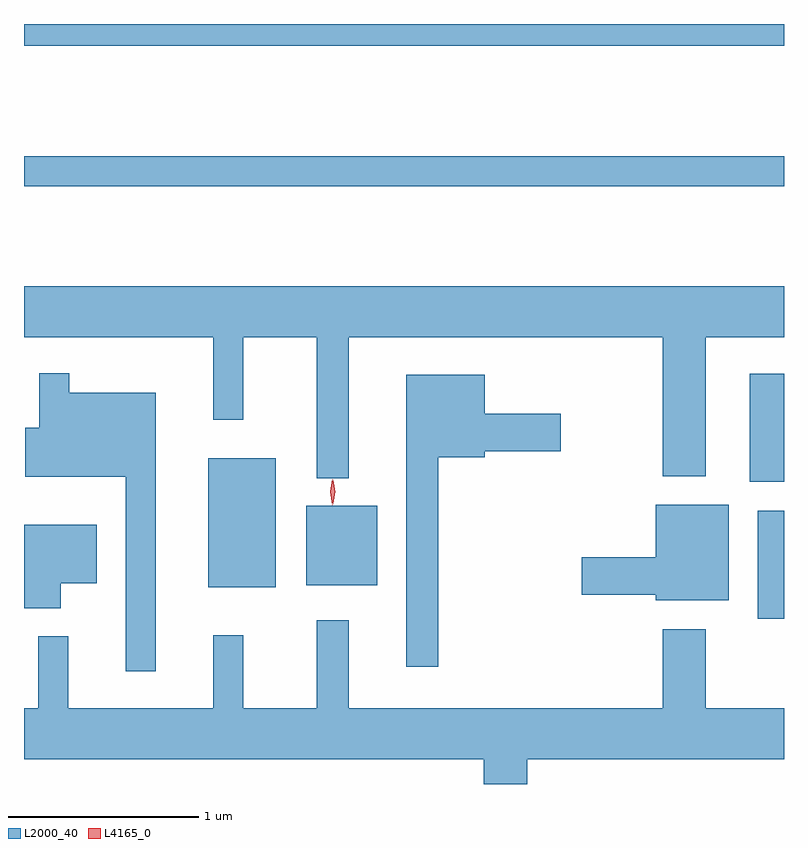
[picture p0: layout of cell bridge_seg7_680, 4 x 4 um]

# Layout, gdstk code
import gdstk
lib = gdstk.Library(unit=1e-6, precision=1e-09)
def R(c, l, rs):  # rectangles x0, y0, x1, y1
    for r in rs: c.add(gdstk.rectangle(r[:2], r[2:], *l))
def P(c, l, *ps):  # polygons
    for p in ps: c.add(gdstk.Polygon(p, *l))
L2000_40 = (2000, 40)
L4165_0 = (4165, 0)

bridge_seg7_680 = lib.new_cell('bridge_seg7_680')
R(bridge_seg7_680, L2000_40, [(979.501,1721.716,979.64,1722.284), (976.611,1721.881,976.964,1722.559), (977.126,1721.891,977.499,1722.309), (979.461,1722.436,979.64,1723.004), (975.64,1723.991,979.64,1724.149), (975.64,1724.731,979.64,1724.845)])
P(bridge_seg7_680, L2000_40, [(975.64,1723.196),(976.636,1723.196),(976.636,1722.763),(976.794,1722.763),(976.794,1723.196),(977.181,1723.196),(977.181,1722.453),(977.349,1722.453),(977.349,1723.196),(979.001,1723.196),(979.001,1722.466),(979.229,1722.466),(979.229,1723.196),(979.64,1723.196),(979.64,1723.464),(975.64,1723.464)],
  [(976.334,1722.904),(975.879,1722.904),(975.879,1723.008),(975.721,1723.008),(975.721,1722.719),(975.646,1722.719),(975.646,1722.461),(976.176,1722.461),(976.176,1721.438),(976.334,1721.438)],
  [(977.819,1722.566),(978.064,1722.566),(978.064,1722.596),(978.464,1722.596),(978.464,1722.794),(978.064,1722.794),(978.064,1722.999),(977.651,1722.999),(977.651,1721.463),(977.819,1721.463)],
  [(979.349,1722.314),(978.966,1722.314),(978.966,1722.039),(978.576,1722.039),(978.576,1721.841),(978.966,1721.841),(978.966,1721.811),(979.349,1721.811)],
  [(975.834,1721.901),(976.024,1721.901),(976.024,1722.209),(975.64,1722.209),(975.64,1721.771),(975.834,1721.771)],
  [(979.64,1721.244),(979.229,1721.244),(979.229,1721.659),(979.001,1721.659),(979.001,1721.244),(977.349,1721.244),(977.349,1721.708),(977.181,1721.708),(977.181,1721.244),(976.794,1721.244),(976.794,1721.628),(976.636,1721.628),(976.636,1721.244),(975.874,1721.244),(975.874,1721.623),(975.716,1721.623),(975.716,1721.244),(975.64,1721.244),(975.64,1720.976),(978.061,1720.976),(978.061,1720.845),(978.289,1720.845),(978.289,1720.976),(979.64,1720.976)])
P(bridge_seg7_680, L4165_0, [(977.262,1722.313),(977.262,1722.314),(977.252,1722.382),(977.262,1722.45),(977.262,1722.45),(977.263,1722.45),(977.272,1722.382),(977.263,1722.314)],
  [(977.267,1722.318),(977.267,1722.319),(977.257,1722.383),(977.267,1722.447),(977.267,1722.447),(977.268,1722.447),(977.277,1722.383),(977.268,1722.319)])

lib.write_gds('bridge_seg7_680.gds')
